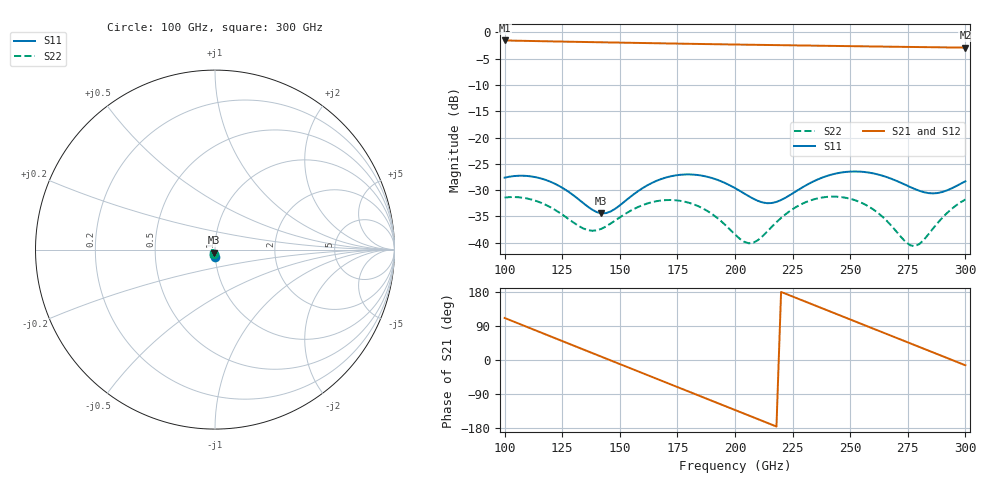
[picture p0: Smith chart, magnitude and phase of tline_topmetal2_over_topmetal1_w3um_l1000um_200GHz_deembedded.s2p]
! Created with skrf 2.0.1 (http://scikit-rf.org).
# GHz S DB R 50.0
!freq dBS11 angS11 dBS21 angS21 dBS12 angS12 dBS22 angS22
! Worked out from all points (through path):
!   101 points, 100 GHz to 300 GHz, reference 50 ohm
!   highest |S21| = -1.53 dB at 100 GHz (marker M1); lowest = -2.9 dB at 300 GHz (marker M2)
!   group delay of S21, straight-line fit = 6.73 ps
!   lowest |S11| = -34.4 dB at 142 GHz (marker M3), VSWR 1.04, Z = 49.3 - j1.77 ohm
!   |S11| at or under -10 dB: start of sweep to end of sweep
!   |S22| runs from -40.7 to -31.2 dB; largest |S21 - S12| = 1.3e-14
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100  -27.63 -86.6  -1.53 111.0  -1.53 111.0  -31.41 -96.6
108  -27.26 -101.4  -1.60 91.5  -1.60 91.5  -31.45 -111.6
116  -27.80 -115.0  -1.67 72.0  -1.67 72.0  -32.44 -124.8
124  -29.28 -125.4  -1.74 52.5  -1.74 52.5  -34.34 -133.1
134  -32.41 -127.2  -1.82 28.2  -1.82 28.2  -37.26 -127.3
142  -34.41 -109.9  -1.88 8.8  -1.88 8.8  -37.35 -109.9
154  -31.48 -85.7  -1.97 -20.4  -1.97 -20.4  -34.09 -104.4
168  -27.88 -94.5  -2.07 -54.4  -2.07 -54.4  -31.96 -122.4
176  -27.09 -104.9  -2.13 -73.8  -2.13 -73.8  -32.02 -135.5
184  -27.13 -115.5  -2.19 -93.2  -2.19 -93.2  -33.04 -147.8
200  -29.61 -128.9  -2.30 -131.9  -2.30 -131.9  -38.43 -152.5
208  -31.64 -124.1  -2.35 -151.3  -2.35 -151.3  -40.00 -125.3
218  -32.24 -103.2  -2.41 -175.5  -2.41 -175.5  -36.10 -106.0
226  -30.35 -92.6  -2.46 165.1  -2.46 165.1  -33.35 -111.4
234  -28.35 -93.0  -2.51 145.7  -2.51 145.7  -31.78 -123.1
244  -26.82 -101.3  -2.58 121.5  -2.58 121.5  -31.24 -140.3
252  -26.45 -109.8  -2.62 102.1  -2.62 102.1  -31.90 -154.0
260  -26.81 -117.8  -2.67 82.8  -2.67 82.8  -33.66 -165.3
268  -27.86 -123.0  -2.72 63.4  -2.72 63.4  -36.83 -169.0
278  -29.78 -120.6  -2.77 39.3  -2.77 39.3  -40.66 -137.9
290  -30.35 -101.5  -2.84 10.2  -2.84 10.2  -35.24 -109.8
300  -28.31 -92.1  -2.90 -13.9  -2.90 -13.9  -31.78 -120.2
